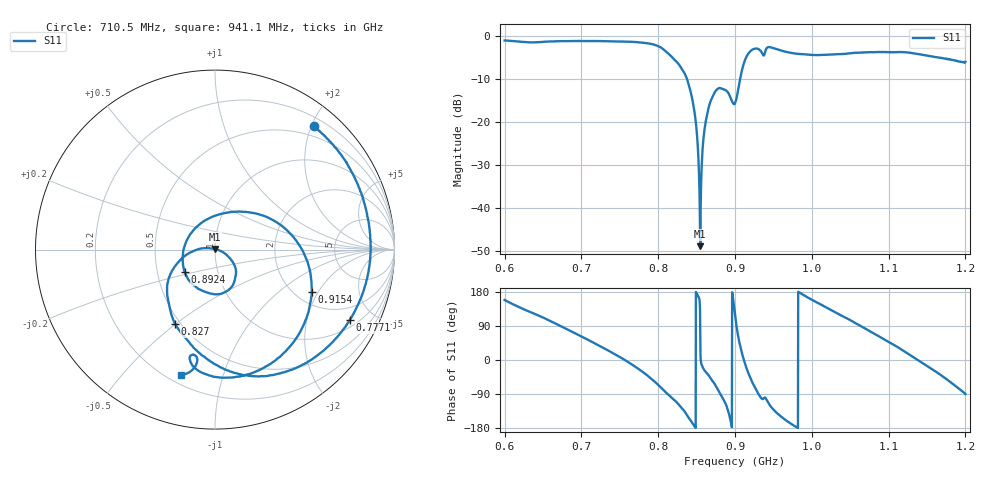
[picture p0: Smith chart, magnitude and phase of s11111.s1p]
# HZ S RI R 50
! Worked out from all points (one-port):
!   2010 points, 600 MHz to 1.2 GHz, reference 50 ohm
!   lowest |S11| = -48.9 dB at 854.8 MHz (marker M1), VSWR 1.01, Z = 50.2 + j0.319 ohm
!   |S11| at or under -10 dB: 837.6 MHz to 906.6 MHz (69.05 MHz wide, 7.92 % of centre)
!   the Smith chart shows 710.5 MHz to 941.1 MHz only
!   S11 on the Smith chart (normalised r, x): 710.5 MHz: 0.33, +2.04; 777.1 MHz: 1.31, -3.64; 827 MHz: 0.47, -0.50; 892.4 MHz: 0.69, -0.18; 915.4 MHz: 2.43, -1.77; 941.1 MHz: 0.25, -0.74
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6e8  -0.83 0.3306
6.752613e8  0.043 0.8765
7.105027e8  0.5495 0.687
7.50224e8  0.862 0.1146
7.77103e8  0.7511 -0.3913
8.018915e8  0.264 -0.7051
8.251866e8  -0.2003 -0.4487
8.269786e8  -0.2225 -0.4134
8.448979e8  -0.1713 -0.0375
8.490791e8  -0.0976 0.00094
8.52663e8  -0.0315 0.00788
8.547536e8  0.00167 0.00318
8.607267e8  0.0767 -0.0421
8.678944e8  0.1167 -0.1263
8.810353e8  -0.00203 -0.249
8.923842e8  -0.1687 -0.1244
9.001493e8  -0.0771 0.148
9.07317e8  0.2883 0.1817
9.153807e8  0.5393 -0.2371
9.258337e8  0.2163 -0.6841
9.410652e8  -0.1877 -0.6988
9.536087e8  -0.5287 -0.4761
9.751119e8  -0.6278 -0.0988
1.050075e9  -0.1643 0.612
1.086809e9  0.295 0.584
1.125037e9  0.6196 0.1868
1.15998e9  0.5032 -0.2766
1.2e9  0.000769 -0.5047
